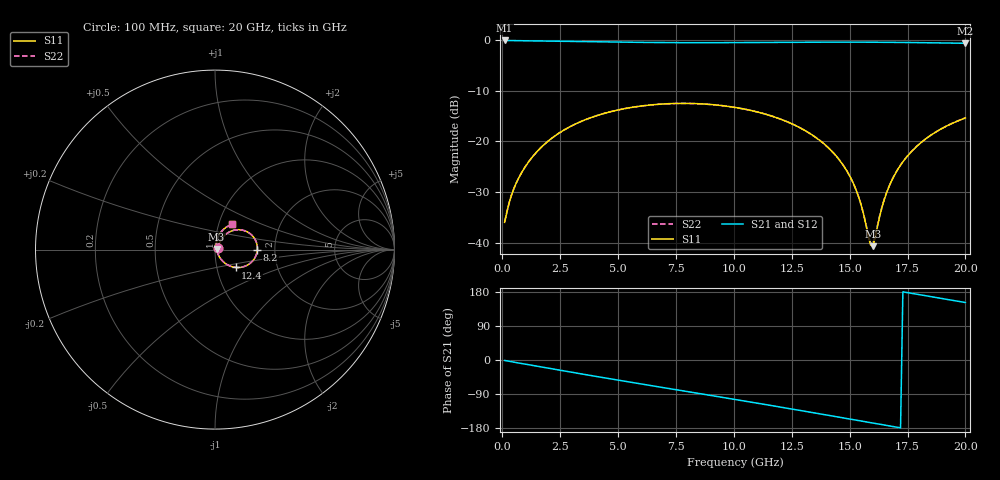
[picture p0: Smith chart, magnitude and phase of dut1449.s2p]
! Touchstone file exported from HFSS 2026.1.0
!  File:  C:/ffzhzh/LocalFiles/Ansys_Project_Files/temp_train_TSV_RDL_1449_1783358587_50076.aedt
!  Generated:  01:32:32 AM Jul  7, 2026
!  Design:  TSV_RDL
!  Project:  temp_train_TSV_RDL_1449_1783358587_50076
! Variables:
!  h_bsmrdl = 2.09um
!  h_ox = 20um
!  h_rdl = 5um
!  h_sub = 83.28um
!  h_tmrdl = 3.95um
!  h_tsv = 83.28um
!  h_via = 3um
!  l_bsmrdl = 159.32um
!  l_sub = 3403.5um
!  l_tmrdl = 591.95um
!  m_sub = 200um
!  pitch = 34.75um
!  r_tsv = 7.16um
!  s_tmrdl = 10um
!  w_bsmrdl = 29.38um
!  w_sub = 500um
!  w_tmrdl = 23.2um
!  x_tsv_center1 = 603.55um
!  x_tsv_center2 = 792.25um
!  x_tsv_center3 = 1407.4um
!  x_tsv_center4 = 1596.1um
!  x_tsv_center5 = 2211.25um
!  x_tsv_center6 = 2399.95um
# GHz S MA R 50.000000
! Terminal data exported
! Port[1] = TM_RDL1_1_T1
! Port[2] = TM_RDL5_1_T1
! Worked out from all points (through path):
!   200 points, 100 MHz to 20 GHz, reference 50 ohm
!   highest |S21| = -0.13 dB at 100 MHz (marker M1); lowest = -0.7 dB at 20 GHz (marker M2)
!   group delay of S21, straight-line fit = 28.7 ps
!   lowest |S11| = -40.7 dB at 16 GHz (marker M3), VSWR 1.02, Z = 50.9 + j0.326 ohm
!   |S11| at or under -10 dB: start of sweep to end of sweep
!   |S22| runs from -40.2 to -12.5 dB; largest |S21 - S12| = 6.7e-14
!   S11 on the Smith chart (normalised r, x): 100 MHz: 1.03, +0.01; 8.2 GHz: 1.62, -0.01; 12.4 GHz: 1.23, -0.25; 20 GHz: 1.16, +0.33
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0.1  0.01591 24.1  0.9856 -1.2  0.9856 -1.2  0.01591 24.1
! Gamma 0 0 0 0
! Port Impedance 50 0 50 0
0.5  0.03422 51.8  0.9811 -5.7  0.9811 -5.7  0.03421 51.8
1.2  0.06567 58.1  0.9767 -13.2  0.9767 -13.2  0.06567 58.1
2.2  0.11 53.9  0.9706 -23.9  0.9706 -23.9  0.11 54.0
3.5  0.1603 43.3  0.9607 -37.6  0.9607 -37.6  0.1603 43.3
5.2  0.2082 27.5  0.9483 -55.1  0.9483 -55.1  0.2082 27.5
6.8  0.2322 12.4  0.9402 -71.3  0.9402 -71.3  0.2322 12.4
8.2  0.2358 -0.9  0.9371 -85.4  0.9371 -85.4  0.2358 -0.9
10.1  0.2149 -19.0  0.9387 -104.6  0.9387 -104.6  0.2149 -18.9
12.4  0.1526 -40.8  0.9453 -128.3  0.9453 -128.3  0.1525 -40.6
13.4  0.1149 -49.8  0.9478 -138.7  0.9478 -138.7  0.1148 -49.5
14.3  0.07691 -56.7  0.949 -148.3  0.949 -148.3  0.0769 -56.3
15  0.04573 -59.2  0.949 -155.7  0.949 -155.7  0.04576 -58.6
15.4  0.02783 -55.7  0.9485 -159.9  0.9485 -159.9  0.02793 -54.7
15.9  0.009547 -7.6  0.9476 -165.3  0.9476 -165.3  0.009992 -6.4
16  0.009268 20.2  0.9473 -166.3  0.9473 -166.3  0.009761 20.1
16.4  0.02247 71.1  0.9461 -170.6  0.9461 -170.6  0.02274 70.0
16.7  0.03572 77.1  0.9449 -173.8  0.9449 -173.8  0.03592 76.4
17.2  0.05828 77.8  0.9427 -179.1  0.9427 -179.1  0.05843 77.3
17.9  0.08923 73.8  0.9388 173.6  0.9388 173.6  0.08935 73.5
18.8  0.1265 66.4  0.933 164.1  0.933 164.1  0.1267 66.2
20  0.17 55.5  0.9246 151.7  0.9246 151.7  0.17 55.4
